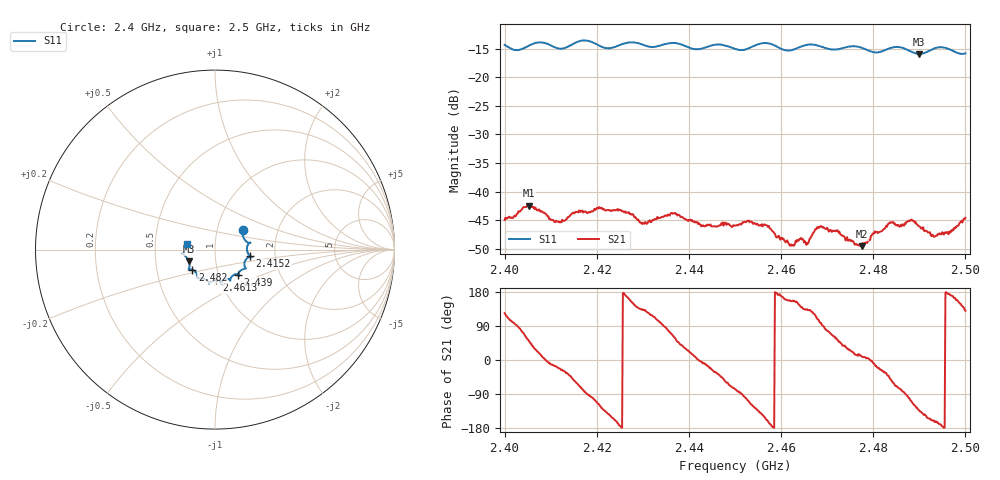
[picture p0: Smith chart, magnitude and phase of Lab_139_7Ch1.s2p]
# Hz S RI R 50
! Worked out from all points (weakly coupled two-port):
!   601 points, 2.4 GHz to 2.5 GHz, reference 50 ohm
!   highest |S21| = -42.48 dB at 2.4053 GHz (marker M1); lowest = -49.5 dB at 2.4775 GHz (marker M2)
!   lowest |S11| = -15.9 dB at 2.4898 GHz (marker M3), VSWR 1.38, Z = 37 - j5.02 ohm
!   |S11| at or under -10 dB: start of sweep to end of sweep
!   S12 and S22 are empty: the file has one direction only
!   S11 on the Smith chart (normalised r, x): 2.4 GHz: 1.33, +0.31; 2.4152 GHz: 1.48, -0.11; 2.439 GHz: 1.24, -0.36; 2.4613 GHz: 0.96, -0.34; 2.482 GHz: 0.76, -0.17; 2.5 GHz: 0.73, +0.05
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2.4e9  0.1562 0.1111  -0.00313 0.0047  0 0  0 0
2.405333e9  0.1854 0.0383  0.00493 0.00567  0 0  0 0
2.411167e9  0.1799 0.0188  0.00533 -0.00162  0 0  0 0
2.415167e9  0.1952 -0.0362  0.00368 -0.00531  0 0  0 0
2.416667e9  0.2045 -0.0422  0.00174 -0.0066  0 0  0 0
2.424833e9  0.1655 -0.0941  -0.00691 -0.000984  0 0  0 0
2.429833e9  0.1607 -0.1082  -0.00364 0.00374  0 0  0 0
2.433333e9  0.1322 -0.1327  -0.00137 0.00567  0 0  0 0
2.4365e9  0.1349 -0.1471  0.00279 0.00577  0 0  0 0
2.439e9  0.128 -0.1388  0.00489 0.00311  0 0  0 0
2.45e9  0.0687 -0.1633  0.00112 -0.0049  0 0  0 0
2.456833e9  0.0399 -0.1948  -0.0047 -0.00191  0 0  0 0
2.461333e9  0.00772 -0.1708  -0.00349 0.00139  0 0  0 0
2.4655e9  -0.0329 -0.1886  -0.00237 0.00247  0 0  0 0
2.466667e9  -0.0333 -0.1904  -0.00247 0.00326  0 0  0 0
2.468833e9  -0.0352 -0.1813  -0.000257 0.00493  0 0  0 0
2.4775e9  -0.0965 -0.153  0.0033 0.000513  0 0  0 0
2.482e9  -0.1265 -0.1121  0.00397 -0.00224  0 0  0 0
2.483333e9  -0.1397 -0.1098  0.00394 -0.0035  0 0  0 0
2.489833e9  -0.1454 -0.066  -0.00332 -0.00374  0 0  0 0
2.493667e9  -0.1793 -0.0242  -0.00394 -0.00123  0 0  0 0
2.5e9  -0.1581 0.0333  -0.00378 0.00454  0 0  0 0
